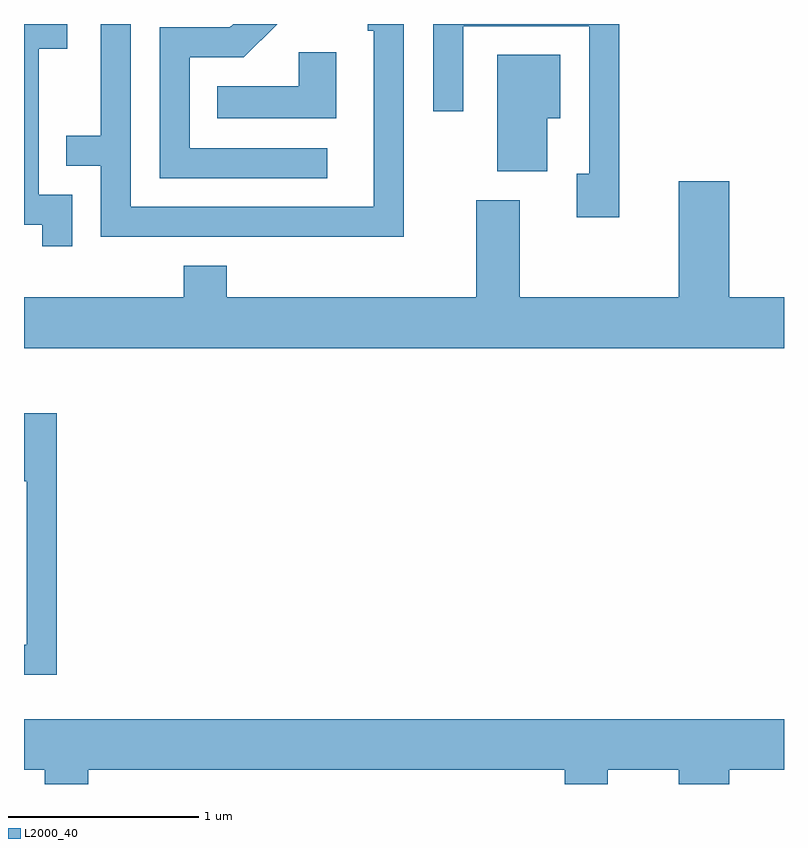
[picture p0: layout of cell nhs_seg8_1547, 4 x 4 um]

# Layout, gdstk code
import gdstk
lib = gdstk.Library(unit=1e-6, precision=1e-09)
def P(c, l, *ps):  # polygons
    for p in ps: c.add(gdstk.Polygon(p, *l))
L2000_40 = (2000, 40)

nhs_seg8_1547 = lib.new_cell('nhs_seg8_1547')
P(nhs_seg8_1547, L2000_40, [(231.864,1839.444),(231.689,1839.444),(231.689,1840.211),(231.839,1840.211),(231.839,1840.342),(231.611,1840.342),(231.611,1839.286),(231.706,1839.286),(231.706,1839.173),(231.864,1839.173)],
  [(233.609,1840.342),(233.421,1840.342),(233.421,1840.306),(233.451,1840.306),(233.451,1839.379),(232.174,1839.379),(232.174,1840.342),(232.016,1840.342),(232.016,1839.754),(231.833,1839.754),(231.833,1839.596),(232.016,1839.596),(232.016,1839.221),(233.609,1839.221)],
  [(234.744,1840.342),(233.766,1840.342),(233.766,1839.883),(233.924,1839.883),(233.924,1840.331),(234.586,1840.331),(234.586,1839.554),(234.521,1839.554),(234.521,1839.326),(234.744,1839.326)],
  [(233.208,1839.689),(232.484,1839.689),(232.484,1840.166),(232.767,1840.166),(232.943,1840.342),(232.712,1840.342),(232.694,1840.324),(232.326,1840.324),(232.326,1839.531),(233.208,1839.531)],
  [(233.254,1840.194),(233.056,1840.194),(233.056,1840.014),(232.628,1840.014),(232.628,1839.846),(233.254,1839.846)],
  [(234.364,1839.846),(234.434,1839.846),(234.434,1840.179),(234.101,1840.179),(234.101,1839.566),(234.364,1839.566)],
  [(235.611,1838.904),(235.324,1838.904),(235.324,1839.514),(235.056,1839.514),(235.056,1838.904),(234.219,1838.904),(234.219,1839.414),(233.991,1839.414),(233.991,1838.904),(232.679,1838.904),(232.679,1839.069),(232.451,1839.069),(232.451,1838.904),(231.611,1838.904),(231.611,1838.636),(235.611,1838.636)],
  [(231.784,1838.294),(231.611,1838.294),(231.611,1837.936),(231.626,1837.936),(231.626,1837.074),(231.611,1837.074),(231.611,1836.916),(231.784,1836.916)],
  [(231.949,1836.416),(234.456,1836.416),(234.456,1836.342),(234.684,1836.342),(234.684,1836.416),(235.056,1836.416),(235.056,1836.342),(235.324,1836.342),(235.324,1836.416),(235.611,1836.416),(235.611,1836.684),(231.611,1836.684),(231.611,1836.416),(231.721,1836.416),(231.721,1836.342),(231.949,1836.342)])

lib.write_gds('nhs_seg8_1547.gds')
